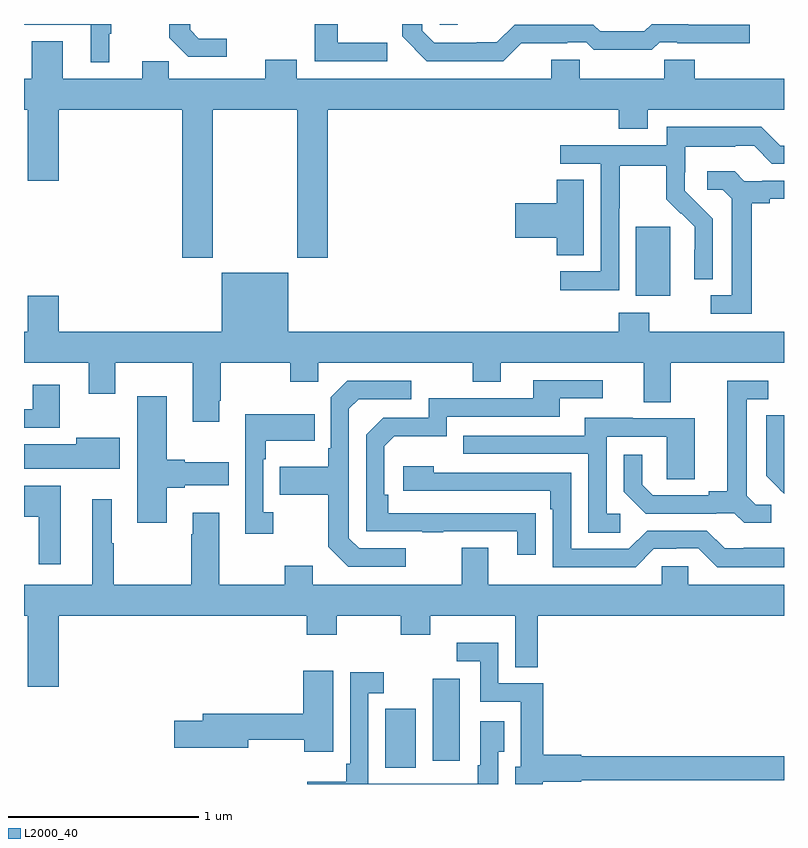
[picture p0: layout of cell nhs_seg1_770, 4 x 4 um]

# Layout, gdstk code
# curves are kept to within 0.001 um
import gdstk
lib = gdstk.Library(unit=1e-6, precision=1e-09)
def R(c, l, rs):  # rectangles x0, y0, x1, y1
    for r in rs: c.add(gdstk.rectangle(r[:2], r[2:], *l))
def P(c, l, *ps):  # polygons
    for p in ps: c.add(gdstk.Polygon(p, *l))
L2000_40 = (2000, 40)

nhs_seg1_770 = lib.new_cell('nhs_seg1_770')
R(nhs_seg1_770, L2000_40, [(154.901,532.285,155.062,532.596), (155.15,532.322,155.293,532.753), (156.221,534.77,156.4,535.131), (155.187,536.196,155.283,536.199)])
P(nhs_seg1_770, L2000_40, [(153.448,536.148),(153.46,536.148),(153.46,536.199),(153,536.199),(153,536.196),(153.35,536.196),(153.35,535.997),(153.448,535.997)],
  [(154.912,536.101),(154.651,536.101),(154.651,536.197),(154.638,536.197),(154.638,536.199),(154.53,536.199),(154.53,536.004),(154.912,536.004)],
  [(154.066,536.121),(153.921,536.121),(153.874,536.168),(153.874,536.199),(153.765,536.199),(153.765,536.127),(153.865,536.027),(154.066,536.027)],
  [(155.618,536.099),(155.858,536.099),(155.858,536.103),(155.958,536.103),(155.998,536.064),(156.305,536.064),(156.345,536.103),(156.439,536.103),(156.439,536.099),(156.82,536.099),(156.82,536.196),(156.496,536.196),(156.496,536.199),(156.303,536.199),(156.264,536.16),(156.033,536.16),(155.997,536.196),(155.583,536.196),(155.489,536.102),(155.384,536.102),(155.384,536.1),(155.16,536.1),(155.097,536.163),(155.097,536.199),(154.99,536.199),(154.99,536.135),(155.12,536.004),(155.523,536.004)],
  [(153.993,535.748),(154.438,535.748),(154.438,534.969),(154.598,534.969),(154.598,535.748),(156.131,535.748),(156.131,535.649),(156.283,535.649),(156.283,535.748),(157,535.748),(157,535.912),(156.53,535.912),(156.53,536.01),(156.37,536.01),(156.37,535.912),(155.925,535.912),(155.925,536.01),(155.774,536.01),(155.774,535.912),(154.435,535.912),(154.435,536.011),(154.271,536.011),(154.271,535.912),(153.761,535.912),(153.761,536.003),(153.623,536.003),(153.623,535.912),(153.205,535.912),(153.205,536.107),(153.041,536.107),(153.041,535.912),(153,535.912),(153,535.748),(153.02,535.748),(153.02,535.374),(153.184,535.374),(153.184,535.748),(153.833,535.748),(153.833,534.969),(153.993,534.969)],
  [(156.132,535.228),(156.135,535.228),(156.135,535.452),(156.379,535.452),(156.379,535.277),(156.456,535.2),(156.459,535.203),(156.53,535.133),(156.53,535.01),(156.528,535.01),(156.528,534.856),(156.624,534.856),(156.624,535.174),(156.478,535.322),(156.478,535.419),(156.48,535.419),(156.48,535.553),(156.743,535.553),(156.743,535.557),(156.843,535.557),(156.936,535.464),(157,535.464),(157,535.557),(156.981,535.557),(156.881,535.657),(156.384,535.657),(156.384,535.56),(155.823,535.56),(155.823,535.464),(156.036,535.464),(156.036,534.897),(155.823,534.897),(155.823,534.799),(156.132,534.799)],
  [(156.829,535.256),(156.925,535.256),(156.925,535.278),(157,535.278),(157,535.374),(156.886,535.374),(156.886,535.371),(156.792,535.371),(156.74,535.423),(156.597,535.423),(156.597,535.326),(156.678,535.326),(156.725,535.279),(156.725,534.771),(156.615,534.771),(156.615,534.675),(156.829,534.675)],
  [(155.947,535.379),(155.804,535.379),(155.804,535.256),(155.586,535.256),(155.586,535.073),(155.804,535.073),(155.804,534.982),(155.947,534.982)],
  [(154.027,534.217),(154.035,534.217),(154.035,534.416),(154.402,534.416),(154.402,534.317),(154.548,534.317),(154.548,534.416),(155.362,534.416),(155.362,534.317),(155.509,534.317),(155.509,534.416),(156.263,534.416),(156.263,534.208),(156.403,534.208),(156.403,534.416),(157,534.416),(157,534.58),(156.291,534.58),(156.291,534.679),(156.131,534.679),(156.131,534.58),(154.39,534.58),(154.39,534.889),(154.04,534.889),(154.04,534.58),(153.184,534.58),(153.184,534.769),(153.02,534.769),(153.02,534.58),(153,534.58),(153,534.416),(153.341,534.416),(153.341,534.252),(153.481,534.252),(153.481,534.416),(153.887,534.416),(153.887,534.105),(154.027,534.105)],
  [(155.693,533.624),(154.916,533.625),(154.916,533.722),(154.896,533.722),(154.896,533.976),(154.949,534.029),(155.226,534.029),(155.226,534.132),(155.821,534.132),(155.821,534.228),(156.046,534.228),(156.046,534.324),(155.681,534.324),(155.681,534.228),(155.13,534.228),(155.13,534.126),(154.89,534.126),(154.8,534.036),(154.8,533.529),(155.095,533.529),(155.095,533.524),(155.207,533.524),(155.207,533.529),(155.597,533.529),(155.597,533.406),(155.693,533.406)],
  [(155.008,533.439),(154.764,533.439),(154.71,533.493),(154.71,534.174),(154.761,534.225),(155.038,534.225),(155.038,534.321),(154.701,534.321),(154.614,534.234),(154.614,533.965),(154.602,533.965),(154.602,533.869),(154.345,533.869),(154.345,533.722),(154.602,533.722),(154.602,533.449),(154.707,533.343),(155.008,533.343)],
  [(156.934,533.67),(156.852,533.67),(156.805,533.717),(156.805,534.225),(156.916,534.225),(156.916,534.321),(156.701,534.321),(156.701,533.741),(156.605,533.741),(156.605,533.718),(156.31,533.718),(156.253,533.775),(156.253,533.932),(156.156,533.932),(156.156,533.738),(156.272,533.622),(156.644,533.622),(156.644,533.625),(156.738,533.625),(156.79,533.573),(156.934,533.573)],
  [(153.187,534.301),(153.047,534.301),(153.047,534.171),(153,534.171),(153,534.075),(153.187,534.075)],
  [(153.751,533.759),(153.847,533.759),(153.847,533.771),(154.078,533.771),(154.078,533.893),(153.847,533.893),(153.847,533.906),(153.751,533.906),(153.751,534.241),(153.596,534.241),(153.596,533.574),(153.751,533.574)],
  [(154.312,533.63),(154.26,533.63),(154.26,533.909),(154.273,533.909),(154.273,534.005),(154.529,534.005),(154.529,534.145),(154.164,534.145),(154.164,533.517),(154.312,533.517)],
  [(157,534.14),(156.906,534.14),(156.906,533.822),(156.979,533.749),(156.978,533.748),(157,533.726)],
  [(156.139,533.622),(156.066,533.622),(156.066,534.027),(156.384,534.027),(156.384,533.803),(156.529,533.803),(156.529,534.123),(156.205,534.123),(156.205,534.127),(155.951,534.127),(155.951,534.033),(155.311,534.033),(155.311,533.937),(155.97,533.937),(155.97,533.521),(156.139,533.521)],
  [(153.505,534.022),(153.275,534.022),(153.275,533.986),(153,533.986),(153,533.858),(153.505,533.858)],
  [(157,533.443),(156.787,533.443),(156.787,533.439),(156.687,533.439),(156.594,533.532),(156.279,533.532),(156.183,533.436),(155.88,533.436),(155.88,533.838),(155.156,533.838),(155.156,533.872),(154.995,533.872),(154.995,533.742),(155.771,533.742),(155.771,533.645),(155.784,533.645),(155.784,533.34),(156.219,533.34),(156.315,533.436),(156.434,533.436),(156.434,533.439),(156.549,533.439),(156.649,533.339),(157,533.339)],
  [(153.193,533.77),(153,533.77),(153,533.606),(153.077,533.606),(153.077,533.355),(153.193,533.355)],
  [(153.184,533.084),(154.487,533.084),(154.487,532.985),(154.647,532.985),(154.647,533.084),(154.984,533.084),(154.984,532.985),(155.139,532.985),(155.139,533.084),(155.585,533.084),(155.585,532.813),(155.704,532.813),(155.704,533.084),(157,533.084),(157,533.248),(156.495,533.248),(156.495,533.346),(156.357,533.346),(156.357,533.248),(155.443,533.248),(155.443,533.443),(155.303,533.443),(155.303,533.248),(154.519,533.248),(154.519,533.347),(154.372,533.347),(154.372,533.248),(154.027,533.248),(154.027,533.626),(153.887,533.626),(153.887,533.513),(153.88,533.513),(153.88,533.248),(153.473,533.248),(153.473,533.465),(153.463,533.465),(153.463,533.698),(153.359,533.698),(153.359,533.248),(153,533.248),(153,533.084),(153.02,533.084),(153.02,532.71),(153.184,532.71)],
  [(155.729,532.21),(155.934,532.21),(155.934,532.218),(157,532.218),(157,532.346),(155.934,532.346),(155.934,532.354),(155.734,532.354),(155.734,532.728),(155.496,532.728),(155.496,532.942),(155.277,532.942),(155.277,532.845),(155.4,532.845),(155.4,532.632),(155.615,532.632),(155.615,532.291),(155.585,532.291),(155.585,532.199),(155.729,532.199)],
  [(154.627,532.795),(154.469,532.795),(154.469,532.568),(153.941,532.568),(153.941,532.532),(153.792,532.532),(153.792,532.39),(154.18,532.39),(154.18,532.432),(154.474,532.432),(154.474,532.368),(154.627,532.368)],
  [(155.496,532.369),(155.527,532.369),(155.527,532.528),(155.4,532.528),(155.4,532.297),(155.388,532.297),(155.388,532.2),(154.812,532.2),(154.812,532.677),(154.894,532.677),(154.894,532.786),(154.716,532.786),(154.716,532.306),(154.696,532.306),(154.696,532.21),(154.491,532.21),(154.491,532.199),(155.496,532.199)])

lib.write_gds('nhs_seg1_770.gds')
